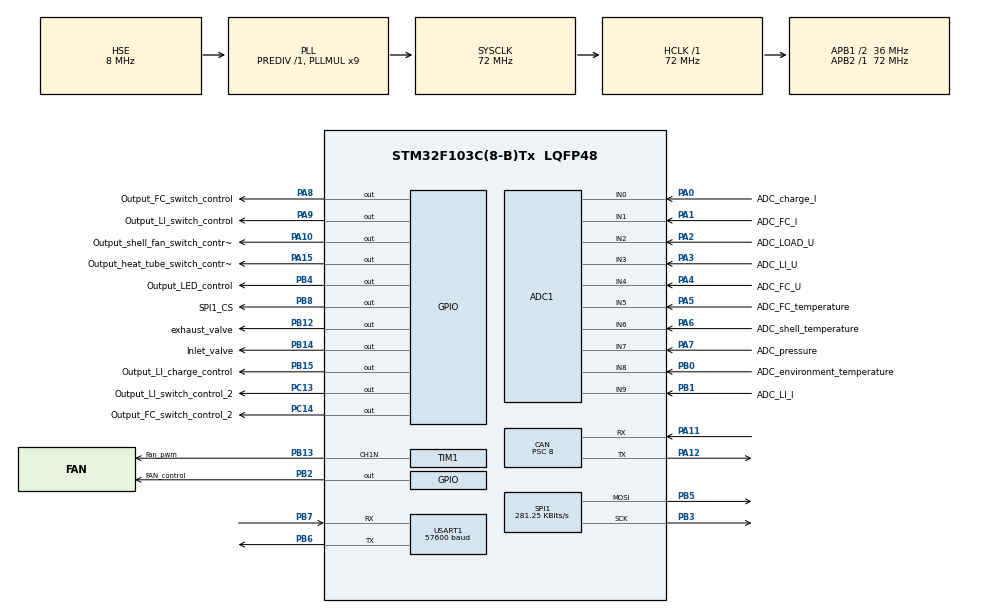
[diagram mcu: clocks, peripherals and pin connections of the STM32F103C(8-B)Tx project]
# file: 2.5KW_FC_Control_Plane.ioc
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ADC1.Channel-0\#ChannelRegularConversion=ADC_CHANNEL_0
ADC1.Channel-1\#ChannelRegularConversion=ADC_CHANNEL_1
ADC1.Channel-2\#ChannelRegularConversion=ADC_CHANNEL_2
ADC1.Channel-3\#ChannelRegularConversion=ADC_CHANNEL_3
ADC1.Channel-4\#ChannelRegularConversion=ADC_CHANNEL_4
ADC1.Channel-5\#ChannelRegularConversion=ADC_CHANNEL_5
ADC1.Channel-6\#ChannelRegularConversion=ADC_CHANNEL_6
ADC1.Channel-7\#ChannelRegularConversion=ADC_CHANNEL_7
ADC1.Channel-8\#ChannelRegularConversion=ADC_CHANNEL_8
ADC1.Channel-9\#ChannelRegularConversion=ADC_CHANNEL_9
ADC1.DataAlign=ADC_DATAALIGN_RIGHT
ADC1.DiscontinuousConvMode=ENABLE
ADC1.NbrOfConversion=10
ADC1.NbrOfConversionFlag=1
ADC1.Rank-0\#ChannelRegularConversion=1
ADC1.Rank-1\#ChannelRegularConversion=2
ADC1.Rank-2\#ChannelRegularConversion=3
ADC1.Rank-3\#ChannelRegularConversion=4
ADC1.Rank-4\#ChannelRegularConversion=5
ADC1.Rank-5\#ChannelRegularConversion=6
ADC1.Rank-6\#ChannelRegularConversion=7
ADC1.Rank-7\#ChannelRegularConversion=8
ADC1.Rank-8\#ChannelRegularConversion=9
ADC1.Rank-9\#ChannelRegularConversion=10
ADC1.SamplingTime-0\#ChannelRegularConversion=ADC_SAMPLETIME_239CYCLES_5
ADC1.SamplingTime-1\#ChannelRegularConversion=ADC_SAMPLETIME_239CYCLES_5
ADC1.SamplingTime-2\#ChannelRegularConversion=ADC_SAMPLETIME_239CYCLES_5
ADC1.SamplingTime-3\#ChannelRegularConversion=ADC_SAMPLETIME_239CYCLES_5
ADC1.SamplingTime-4\#ChannelRegularConversion=ADC_SAMPLETIME_239CYCLES_5
ADC1.SamplingTime-5\#ChannelRegularConversion=ADC_SAMPLETIME_239CYCLES_5
ADC1.SamplingTime-6\#ChannelRegularConversion=ADC_SAMPLETIME_239CYCLES_5
ADC1.SamplingTime-7\#ChannelRegularConversion=ADC_SAMPLETIME_239CYCLES_5
ADC1.SamplingTime-8\#ChannelRegularConversion=ADC_SAMPLETIME_239CYCLES_5
ADC1.SamplingTime-9\#ChannelRegularConversion=ADC_SAMPLETIME_239CYCLES_5
ADC1.master=1
CAN.ABOM=DISABLE
CAN.AWUM=DISABLE
CAN.BS1=CAN_BS1_9TQ
CAN.BS2=CAN_BS2_8TQ
CAN.CalculateBaudRate=250000
CAN.CalculateTimeBit=4000
CAN.CalculateTimeQuantum=222.22222222222223
CAN.NART=ENABLE
CAN.Prescaler=8
CAN.RFLM=DISABLE
CAN.TTCM=DISABLE
CAN.TXFP=DISABLE
Mcu.Family=STM32F1
Mcu.Name=STM32F103C(8-B)Tx
Mcu.Package=LQFP48
NVIC.PriorityGroup=NVIC_PRIORITYGROUP_4
NVIC.TIM2_IRQn=true\:1\:0\:true\:false\:true\:true\:true\:true
NVIC.USART1_IRQn=true\:0\:0\:false\:false\:true\:true\:true\:true
PA0-WKUP.GPIO_Label=ADC_charge_I
PA0-WKUP.Signal=ADCx_IN0
PA1.GPIO_Label=ADC_FC_I
PA1.Signal=ADCx_IN1
PA10.GPIO_Label=Output_shell_fan_switch_control
PA10.Signal=GPIO_Output
PA11.Mode=CAN_Activate
PA11.Signal=CAN_RX
PA12.Mode=CAN_Activate
PA12.Signal=CAN_TX
PA13.Mode=Serial_Wire
PA13.Signal=SYS_JTMS-SWDIO
PA14.Mode=Serial_Wire
PA14.Signal=SYS_JTCK-SWCLK
PA15.GPIO_Label=Output_heat_tube_switch_control
PA15.Signal=GPIO_Output
PA2.GPIO_Label=ADC_LOAD_U
PA2.Signal=ADCx_IN2
PA3.GPIO_Label=ADC_LI_U
PA3.Signal=ADCx_IN3
PA4.GPIO_Label=ADC_FC_U
PA4.Signal=ADCx_IN4
PA5.GPIO_Label=ADC_FC_temperature
PA5.Signal=ADCx_IN5
PA6.GPIO_Label=ADC_shell_temperature
PA6.Signal=ADCx_IN6
PA7.GPIO_Label=ADC_pressure
PA7.Signal=ADCx_IN7
PA8.GPIO_Label=Output_FC_switch_control
PA8.Signal=GPIO_Output
PA9.GPIO_Label=Output_LI_switch_control
PA9.Signal=GPIO_Output
PB0.GPIO_Label=ADC_environment_temperature
PB0.Signal=ADCx_IN8
PB1.GPIO_Label=ADC_LI_I
PB1.Signal=ADCx_IN9
PB12.GPIO_Label=exhaust_valve
PB12.Signal=GPIO_Output
PB13.GPIO_Label=Fan_pwm
PB13.GPIO_Speed=GPIO_SPEED_FREQ_HIGH
PB13.Mode=PWM Generation1 CH1N
PB13.Signal=TIM1_CH1N
PB14.GPIO_Label=Inlet_valve
PB14.Signal=GPIO_Output
PB15.GPIO_Label=Output_LI_charge_control
PB15.Signal=GPIO_Output
PB2.GPIO_Label=FAN_control
PB2.PinState=GPIO_PIN_SET
PB2.Signal=GPIO_Output
PB3.Mode=TX_Only_Simplex_Unidirect_Master
PB3.Signal=SPI1_SCK
PB4.GPIO_Label=Output_LED_control
PB4.Signal=GPIO_Output
PB5.Mode=TX_Only_Simplex_Unidirect_Master
PB5.Signal=SPI1_MOSI
PB6.Mode=Asynchronous
PB6.Signal=USART1_TX
PB7.Mode=Asynchronous
PB7.Signal=USART1_RX
PB8.GPIO_Label=SPI1_CS
PB8.Signal=GPIO_Output
PC13-TAMPER-RTC.GPIO_Label=Output_LI_switch_control_2
PC13-TAMPER-RTC.Signal=GPIO_Output
PC14-OSC32_IN.GPIO_Label=Output_FC_switch_control_2
PC14-OSC32_IN.Signal=GPIO_Output
PD0-OSC_IN.Mode=HSE-External-Oscillator
PD0-OSC_IN.Signal=RCC_OSC_IN
PD1-OSC_OUT.Mode=HSE-External-Oscillator
PD1-OSC_OUT.Signal=RCC_OSC_OUT
ProjectManager.HeapSize=0x200
ProjectManager.StackSize=0x400
ProjectManager.TargetToolchain=MDK-ARM V5.32
RCC.ADCPresc=RCC_ADCPCLK2_DIV6
RCC.AHBFreq_Value=72000000
RCC.APB1CLKDivider=RCC_HCLK_DIV2
RCC.APB1Freq_Value=36000000
RCC.APB1TimFreq_Value=72000000
RCC.APB2Freq_Value=72000000
RCC.APB2TimFreq_Value=72000000
RCC.HCLKFreq_Value=72000000
RCC.PLLMUL=RCC_PLL_MUL9
RCC.PLLSourceVirtual=RCC_PLLSOURCE_HSE
RCC.PREFETCH_ENABLE=1
RCC.SYSCLKFreq_VALUE=72000000
RCC.SYSCLKSource=RCC_SYSCLKSOURCE_PLLCLK
RCC.USBFreq_Value=72000000
SH.ADCx_IN0.0=ADC1_IN0,IN0
SH.ADCx_IN1.0=ADC1_IN1,IN1
SH.ADCx_IN2.0=ADC1_IN2,IN2
SH.ADCx_IN3.0=ADC1_IN3,IN3
SH.ADCx_IN4.0=ADC1_IN4,IN4
SH.ADCx_IN5.0=ADC1_IN5,IN5
SH.ADCx_IN6.0=ADC1_IN6,IN6
SH.ADCx_IN7.0=ADC1_IN7,IN7
SH.ADCx_IN8.0=ADC1_IN8,IN8
SH.ADCx_IN9.0=ADC1_IN9,IN9
SPI1.BaudRatePrescaler=SPI_BAUDRATEPRESCALER_256
SPI1.CalculateBaudRate=281.25 KBits/s
SPI1.Direction=SPI_DIRECTION_2LINES
SPI1.FirstBit=SPI_FIRSTBIT_MSB
SPI1.Mode=SPI_MODE_MASTER
SPI1.VirtualType=VM_MASTER
TIM1.AutoReloadPreload=TIM_AUTORELOAD_PRELOAD_ENABLE
TIM1.Channel-PWM\ Generation1\ CH1N=TIM_CHANNEL_1
TIM1.OCMode_PWM-PWM\ Generation1\ CH1N=TIM_OCMODE_PWM2
TIM1.OCNPolarity_1=TIM_OCNPOLARITY_HIGH
TIM1.Period=99
TIM1.Prescaler=35
TIM1.TIM_MasterOutputTrigger=TIM_TRGO_OC1REF
TIM2.AutoReloadPreload=TIM_AUTORELOAD_PRELOAD_ENABLE
TIM2.Period=1000-1
TIM2.Prescaler=71
TIM4.Period=1
TIM4.Prescaler=71
USART1.BaudRate=57600
USART1.VirtualMode=VM_ASYNC
VP_TIM2_VS_ClockSourceINT.Mode=Internal
VP_TIM4_VS_ClockSourceINT.Mode=Internal
board=custom

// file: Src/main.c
/* USER CODE BEGIN Header */
/**
  ******************************************************************************
  * @file           : main.c
  * @brief          : Main program body
  ******************************************************************************
  ** This notice applies to any and all portions of this file
  * that are not between comment pairs USER CODE BEGIN and
  * USER CODE END. Other portions of this file, whether
  * inserted by the user or by software development tools
  * are owned by their respective copyright owners.
  *
  * COPYRIGHT(c) 2019 STMicroelectronics
  *
  * Redistribution and use in source and binary forms, with or without modification,
  * are permitted provided that the following conditions are met:
  *   1. Redistributions of source code must retain the above copyright notice,
  *      this list of conditions and the following disclaimer.
  *   2. Redistributions in binary form must reproduce the above copyright notice,
  *      this list of conditions and the following disclaimer in the documentation
  *      and/or other materials provided with the distribution.
  *   3. Neither the name of STMicroelectronics nor the names of its contributors
  *      may be used to endorse or promote products derived from this software
  *      without specific prior written permission.
  *
  * THIS SOFTWARE IS PROVIDED BY THE COPYRIGHT HOLDERS AND CONTRIBUTORS "AS IS"
  * AND ANY EXPRESS OR IMPLIED WARRANTIES, INCLUDING, BUT NOT LIMITED TO, THE
  * IMPLIED WARRANTIES OF MERCHANTABILITY AND FITNESS FOR A PARTICULAR PURPOSE ARE
  * DISCLAIMED. IN NO EVENT SHALL THE COPYRIGHT HOLDER OR CONTRIBUTORS BE LIABLE
  * FOR ANY DIRECT, INDIRECT, INCIDENTAL, SPECIAL, EXEMPLARY, OR CONSEQUENTIAL
  * DAMAGES (INCLUDING, BUT NOT LIMITED TO, PROCUREMENT OF SUBSTITUTE GOODS OR
  * SERVICES; LOSS OF USE, DATA, OR PROFITS; OR BUSINESS INTERRUPTION) HOWEVER
  * CAUSED AND ON ANY THEORY OF LIABILITY, WHETHER IN CONTRACT, STRICT LIABILITY,
  * OR TORT (INCLUDING NEGLIGENCE OR OTHERWISE) ARISING IN ANY WAY OUT OF THE USE
  * OF THIS SOFTWARE, EVEN IF ADVISED OF THE POSSIBILITY OF SUCH DAMAGE.
  *
  ******************************************************************************
  */
/* USER CODE END Header */
#include "main.h"
#include "adc.h"
#include "can.h"
#include "spi.h"
#include "tim.h"
#include "usart.h"
#include "gpio.h"

/* USER CODE BEGIN PD */

volatile  uint16_t temperature;              //FC温度
uint8_t	  FC_Start_flag = 1;          				   //FC启停标志
uint16_t  FC_I;                 				     //FC电流
uint16_t  FC_U;                 				     //FC电压
uint32_t  Load_power;                        //负载功率
uint16_t  LI_I;                 				     //LI电流
uint16_t  LI_U;                 				     //LI电压
uint16_t  LI_charge_I;                 			 //LI充电电流
uint16_t  LOAD_U;                            //负载电压
uint16_t  FC_pressure;                 			 //FC进气压力
uint16_t  gas_cylinder_pressure;					   //气瓶压力
uint16_t  shell_temperature;                         //外壳温度
float     environment_temperature;                   //环境温度

uint16_t  temperature_record[TEMPERATURE_NUMBER];    //每秒温度记录
uint8_t   Exhaust_valves_flag = 0;   					 //开启排气标志; 置1:进入排气;  置0：不需要排气
uint16_t  temperature_counter;						 //温度计数器(最大计数655.35秒)
float     ntc_R;                                     //热敏电阻值（型号3950）
float     shell_ntc_R;                               //热敏电阻值（型号3950）
uint16_t  pretemperature_counter;					 //上一温度计数器
uint16_t  pretemperature;       					 //记录上一次温度 5s更新一次
uint16_t  temperature_rate;    						 //升温速率
uint16_t  Exhaust_valves_counter; 					 //排气阀间隔计数器
uint32_t  Exhaust_specific_counter;					 //排气阀特殊计数器（定时一段时间内强排几秒）
uint8_t   temperature_tendency; 					 //温度走势 1:升温; 0:降温或稳定

/* USER CODE END PD */

/* USER CODE BEGIN PV */
bool 			FC_Start_flag_;											//开机标志位
//排气阀-------------------------
uint8_t  Exhaust_status = 0;       				     	//排气阀开关状态
uint8_t   Exhaust_valves_flag;   					 		//开启排气标志
uint16_t  Exhaust_time_counter; 							//排气阀正常排气时间计数器
//正常排气
uint16_t  Exhaust_time_Normal=400;						//排气阀正常排气时间
uint16_t  Exhaust_interval_Normal=15000;			//排气阀正常排气间隔
uint16_t  Exhaust_interval_Normal_counter; 		//排气阀正常排气间隔计数器
//强制排气
uint32_t  Exhaust_time_Specific=2000;					//排气阀强制排气时间
uint32_t  Exhaust_interval_Specific=300000;		//排气阀强制排气间隔
uint32_t  Exhaust_interval_Specific_counter;	//排气阀强制排气间隔计数器
//手动排气
uint8_t   Exhaust_valves_Manual_flag;   			//手动开启排气标志
uint8_t   Exhaust_Manual_status;       				//排气阀手动开关状态
uint32_t  Exhaust_time_Manual=1000;						//排气阀手动排气时间
uint32_t  Exhaust_time_Manual_counter;				//排气阀手动排气时间计数器
//风扇---------------------------
uint16_t   PWM_VAL = 13;               				//风扇转速百分比
//串口---------------------------
volatile uint8_t Uart_ReceiveData_flag;                     //串口接收数据标志
uint8_t USART1_REC_BUF[USART1_MAX_RECV_LEN];        				//接收数据包缓冲区
uint8_t USART2_REC_BUF_Engine[4];                   //发动机数据包
volatile bool sendDataFlag = false;																	//是否回应数据标志位
volatile uint8_t	UART1_temp[1];              								//当前接收字节
volatile uint16_t USART1_REC_STA=0;													//当前字节是连续的第几位
volatile uint8_t respondDeviceID,respondDeviceValue;					//回应数据的ID和Value
uint16_t RecCrc, CalcCrc;														//接收的CRC校验码和计算的CRC校验码
volatile uint16_t CntRx1 = 0;																		//串口1接收时间标志位,7ms接收不到新数据，判定为1个包

//热敏电阻（B值：3950）温度对照数组 （-30℃ ~ 240℃）   一行10℃
float Thermistor3950[]={
		200.2039,	187.3164,	175.3536,	164.2428,	153.9176,	144.3169,	135.3851,	127.071,	119.3276,	112.112,
		105.3847,	99.1093,	93.2524,	87.7834,	82.674,	77.8981,	73.4319,	69.2531,	65.3415,	61.6781,
		58.2457,	55.0282,	52.0106,	49.1794,	46.5218,	44.026,	41.6813,	39.4773,	37.4049,	35.4554,
		33.6206,	31.8931,	30.266,	28.7328,	27.2875,	25.9246,	24.6387,	23.4251,	22.2793,	21.1971,
		20.1746,	19.208,	18.2941,	17.4296,	16.6115,	15.8371,	15.1039,	14.4092,	13.751,	13.127,
		12.5353,	11.9741,	11.4415,	10.936,	10.4559,	10,	9.5668,	9.1551,	8.7636,	8.3913,
		8.0371,	7.7001,	7.3793,	7.0738,	6.7828,	6.5055,	6.2413,	5.9894,	5.7492,	5.5201,
		5.3015,	5.0928,	4.8936,	4.7034,	4.5217,	4.3481,	4.1822,	4.0236,	3.872,	3.7269,
		3.5882,	3.4554,	3.3283,	3.2066,	3.0901,	2.9784,	2.8715,	2.769,	2.6707,	2.5765,
		2.4862,	2.3995,	2.3163,	2.2365,	2.1599,	2.0864,	2.0157,	1.9479,	1.8827,	1.8201,
		1.7598,	1.7019,	1.6463,	1.5927,	1.5412,	1.4917,	1.444,	1.3981,	1.3539,	1.3113,
		1.2703,	1.2308,	1.1928,	1.1561,	1.1208,	1.0867,	1.0538,	1.0221,	0.9915,	0.962,
		0.9336,	0.9061,	0.8796,	0.854,	0.8292,	0.8054,	0.7823,	0.76,	0.7385,	0.7176,
		0.6975,	0.6781,	0.6592,	0.641,	0.6234,	0.6064,	0.5899,	0.574,	0.5586,	0.5436,
		0.5291,	0.5151,	0.5016,	0.4884,	0.4757,	0.4633,	0.4514,	0.4398,	0.4285,	0.4177,
		0.4071,	0.3968,	0.3869,	0.3773,	0.3679,	0.3588,	0.35,	0.3415,	0.3332,	0.3251,
		0.3173,	0.3097,	0.3023,	0.2951,	0.2882,	0.2814,	0.2748,	0.2684,	0.2622,	0.2562,
		0.2503,	0.2446,	0.239,	0.2336,	0.2284,	0.2233,	0.2183,	0.2134,	0.2087,	0.2041,
		0.1997,	0.1953,	0.1911,	0.187,	0.183,	0.1791,	0.1753,	0.1715,	0.1679,	0.1644,
		0.161,	0.1576,	0.1544,	0.1512,	0.1481,	0.1451,	0.1421,	0.1392,	0.1364,	0.1337,
		0.131,	0.1284,	0.1259,	0.1234,	0.121,	0.1186,	0.1163,	0.1141,	0.1119,	0.1097,
		0.1076,	0.1056,	0.1036,	0.1016,	0.0997,	0.0979,	0.096,	0.0943,	0.0925,	0.0908,
		0.0892,	0.0875,	0.086,	0.0844,	0.0829,	0.0814,	0.08,	0.0785,	0.0771,	0.0758,
		0.0745,	0.0732,	0.0719,	0.0706,	0.0694,	0.0682,	0.0671,	0.0659,	0.0648,	0.0637,
		0.0626,	0.0616,	0.0606,	0.0596,	0.0586,	0.0576,	0.0567,	0.0557,	0.0548,	0.0539,
		0.0531,	0.0522,	0.0514,	0.0506,	0.0498,	0.049,	0.0482,	0.0474,	0.0467,	0.046,
		0.0453,	0.0446,	0.0439,	0.0432,	0.0425,	0.0419,	0.0413,	0.0406,	0.04,	0.0394
	};

//函数定义
void get_rec_data(void);
void USART3_Respond(void);
void response_data_send(uint8_t deviceID,uint8_t deviceValue);
uint16_t crc16_calc(uint8_t *crc_buf , uint8_t crc_leni);
uint8_t crc8_calc(uint8_t *data, uint8_t len);

void Task_USART3_Printf(void);
void Task_Exhaust_valves_count(void);
void Task_Exhaust_valves_control(void);
void Task_PWM_control(void);
void TaskRemarks(void);
void TaskProcess(void);

/**************************************************************************************
* Variable definition
**************************************************************************************/

/* USER CODE END PV */

void SystemClock_Config(void);

/* USER CODE BEGIN 0 */
//CRC校验
uint16_t crc16_calc(uint8_t *crc_buf , uint8_t crc_leni)
{
	unsigned char i, j;
	unsigned int crc_sumx;

	crc_sumx = 0xFFFF;

	for (i = 0; i < crc_leni; i++)
	{
		crc_sumx ^= *(crc_buf + i);
		for (j = 0; j < 8; j++) {
			if (crc_sumx & 0x01) {
				crc_sumx >>= 1;
				crc_sumx ^= 0xA001;
			} else {
				crc_sumx >>= 1;
			}
		}
	}

	return crc_sumx;
}

//递归二分查找
int recurbinary(float *a, float key, int low, int high)
{
	int mid = (low+high)/2;

	if(a[low] < key)
	{
		return low;
	}
	else if(a[high] > key)
	{
		return high;
	}

	if(a[mid+1]<=key && a[mid-1]>=key)
	{
		if(a[mid+1]<=key&&a[mid]>=key)
		{
			return mid+1;
		}else
		{
			return mid;
		}
	}
	else if(a[mid] < key)
	{
		return recurbinary(a, key, low, mid);
	}
	else
	{
		return recurbinary(a, key, mid, high);
	}
}

//装载参数数据
void USART1_Parameters_Send(void)
{
#if FUNCTION_TEXT
	printf("****************BEGIN LINE********************\r\n");

	printf("temperature = %.2f 摄氏度 \r\n",(float)temperature*0.01);
	printf("PWM_VAL = %d \r\n",PWM_VAL);
	printf("environment_temperature = %.2f 摄氏度 \r\n",environment_temperature);
	printf("shell_temperaturen = %.2f 摄氏度 \r\n",(float)shell_temperature*0.01);
	printf("Exhaust_status = %d \r\n",Exhaust_status);

	printf("****************END LINE**********************\r\n");
#else

	uint8_t Plane_data[14] = { 0 };

	Plane_data[0] = 0x0E;   //地址
	Plane_data[1] = 0x01;		//功能码：参数通信帧
	Plane_data[2] = 0x00;		//起始地址
	Plane_data[3] = 0x04;		//读取个数
	Plane_data[4] = (temperature+4000) >> 8;
	Plane_data[5] = (temperature+4000) & 0xff;
	Plane_data[6] = (shell_temperature+4000) >> 8;
	Plane_data[7] = (shell_temperature+4000) & 0xff;
	Plane_data[8] = (uint16_t)environment_temperature >> 8;
	Plane_data[9] = (uint16_t)environment_temperature & 0xff;
	Plane_data[10] = 0x00;
	Plane_data[11] = Exhaust_status;
	uint16_t crc = crc16_calc(Plane_data, 12);
	Plane_data[12] = crc >> 8;
	Plane_data[13] = crc & 0xff;

	HAL_UART_Transmit(&huart1,Plane_data,14,0xFFFF);

#endif

}

//装载应答数据
void response_data_send(uint8_t deviceID,uint8_t deviceValue)
{
	#if FUNCTION_TEXT
	printf("****************BEGIN LINE********************\r\n");

	printf("****************END LINE**********************\r\n");

	#else
	uint8_t data_send[6] = {0};
	data_send[0] = 0x0E;				//地址码
	data_send[1] = 0x02;				//功能码：应答数据帧
	data_send[2] = deviceID;
	data_send[3] = deviceValue;
	uint16_t resCrc = crc16_calc(data_send, 4);
	data_send[4] = resCrc >> 8;
	data_send[5] = resCrc & 0xff;

	HAL_UART_Transmit(&huart1,data_send,6,1000);

	#endif

}

//解包函数
//0C 02 deviceid value1 value2 value3 value4 CRC1 CRC2
void get_rec_data(void)
{
	if (USART1_REC_BUF[0] == 0x0C && USART1_REC_BUF[1] == 0x02)
	{
		//deviceid：风扇01、 电磁阀参数更改02、 电磁阀手动开启03
		//PWM通讯样例：0C 02 01 00 00 00 0D E7 2A
		if(USART1_REC_BUF[2] == 0x01)
		{
			RecCrc = ((uint16_t)USART1_REC_BUF[7] << 8) | USART1_REC_BUF[8];
			CalcCrc = crc16_calc(USART1_REC_BUF, 7);
			if(RecCrc != CalcCrc){
				respondDeviceID = USART1_REC_BUF[2];
				respondDeviceValue = 0x02;           //CRC校验错误
			}
			else{
				if(USART1_REC_BUF[6] >= 100)
					USART1_REC_BUF[6] = 100;
				PWM_VAL = USART1_REC_BUF[6];
				respondDeviceID = USART1_REC_BUF[2];
				respondDeviceValue = 0x01;           //设置成功
			}
		}
		//排气参数更改通讯样例：0C 02 02 27 10 00 00 53 A4
		else if(USART1_REC_BUF[2] == 0x02)
		{
			RecCrc = ((uint16_t)USART1_REC_BUF[7] << 8) | USART1_REC_BUF[8];
			CalcCrc = crc16_calc(USART1_REC_BUF, 7);
			if(RecCrc != CalcCrc){
				respondDeviceID = USART1_REC_BUF[2];
				respondDeviceValue = 0x02;
			}
			else{
				Exhaust_interval_Normal = ((uint16_t)USART1_REC_BUF[3] << 8) | USART1_REC_BUF[4];
				Exhaust_time_Normal = ((uint16_t)USART1_REC_BUF[5] << 8) | USART1_REC_BUF[6];
				respondDeviceID = USART1_REC_BUF[2];
				respondDeviceValue = 0x01;
			}
		}
		//手动排气通讯样例：0C 02 03 00 00 00 01 22 53
		else if(USART1_REC_BUF[2] == 0x03)
		{
			RecCrc = ((uint16_t)USART1_REC_BUF[7] << 8) | USART1_REC_BUF[8];
			CalcCrc = crc16_calc(USART1_REC_BUF, 7);
			if(RecCrc != CalcCrc){
				respondDeviceID = USART1_REC_BUF[2];
				respondDeviceValue = 0x02;
			}
			else{
				Exhaust_valves_Manual_flag = 1;
				respondDeviceID = USART1_REC_BUF[2];
				respondDeviceValue = 0x01;
			}
		}
		else{
			respondDeviceID = 0xFF;					//设备码错误
			respondDeviceValue = 0xFF;
		}
	}
	else{
		respondDeviceID = 0xFE;						//地址码错误
		respondDeviceValue = 0xFE;
	}
	sendDataFlag = true;
}

//串口任务
void Task_USART1_Respond(void)
{
	USART1_Parameters_Send();
	if(Uart_ReceiveData_flag){
		get_rec_data();
		memset(USART1_REC_BUF, 0, sizeof (USART1_REC_BUF));
		if(sendDataFlag == true){
//			response_data_send(respondDeviceID,respondDeviceValue);
			sendDataFlag = false;
		}
		USART1_REC_STA = 0;
		Uart_ReceiveData_flag = 0;
	}
}

//排气任务：0.05s执行一次
void Task_Exhaust_valves_control(void)
{
	//FC开机完成进入正常电流累加排气流程
	if(FC_Start_flag == 1)
	{
		//开启手动排气----------------------------
		if(Exhaust_valves_Manual_flag == 1 && Exhaust_status == 0 )
		{
			EXHAUST_ON;
			Exhaust_time_counter = 0;
			Exhaust_status = 1;
			Exhaust_interval_Normal_counter = 0;//
		}
		//结束手动排气
		if((Exhaust_time_counter > Exhaust_time_Manual) && Exhaust_status == 1 && Exhaust_valves_Manual_flag == 1)
		{
			Exhaust_time_counter = 0;
			Exhaust_status = 0;
			EXHAUST_OFF;
			Exhaust_valves_Manual_flag = 0;
			Exhaust_interval_Normal_counter = 0;
		}

		//开启自动排气-----------------------------
		if(Exhaust_valves_flag == 1 && Exhaust_status == 0 )
		{
			EXHAUST_ON;
			Exhaust_time_counter = 0;
			Exhaust_valves_flag = 0;
			Exhaust_status = 1;
			Exhaust_interval_Normal_counter = 0;		//重置间隔计数器
		}

		//结束自动排气：区分强制排气和正常排气
		if(Exhaust_interval_Specific_counter > Exhaust_interval_Specific)
		{
			if( (Exhaust_time_counter > Exhaust_time_Specific)  && Exhaust_status == 1 && Exhaust_valves_Manual_flag == 0)
			{
				Exhaust_time_counter = 0;
				Exhaust_interval_Specific_counter = 0;
				Exhaust_status = 0;
				Exhaust_interval_Normal_counter = 0;
				EXHAUST_OFF;
			}
		}
		else
		{
			if( (Exhaust_time_counter > Exhaust_time_Normal)  && Exhaust_status == 1 && Exhaust_valves_Manual_flag == 0)
			{
				Exhaust_time_counter = 0;
				Exhaust_status = 0;
				Exhaust_interval_Normal_counter = 0;
				EXHAUST_OFF;
			}
		}
	}
}

//排气检测任务：0.1s执行一次
void Task_Exhaust_valves_count(void)
{
	//正常排气时间到
	if( (Exhaust_interval_Normal_counter > Exhaust_interval_Normal) && Exhaust_valves_flag == 0 && Exhaust_status == 0)
	{
		Exhaust_valves_flag = 1;
	}
	//强制排气时间到
	if( (Exhaust_interval_Specific_counter > Exhaust_interval_Specific) && Exhaust_valves_flag == 0 && Exhaust_status == 0)
	{
		Exhaust_valves_flag = 1;
	}
}

void Task_NTC_temp(void)
{
		temperature = ((recurbinary(Thermistor3950, ntc_R, 0, 270) - 30)*100); //单位:100 * ℃

		shell_temperature = (recurbinary(Thermistor3950, shell_ntc_R, 0, 270) - 30)*100;	//单位:100 * ℃
}

void Task_environment_temperature(void)
{
	environment_temperature = DS18B20_Get_TempA();
}

void Task_Fan_PWM(void)
{
	TIM_SetCompare3(TIM1,PWM_VAL);
}

//第三个数字=n，表示n毫秒执行一次
static TASK_COMPONENTS TaskComps[] =
{
  {0, 30, 30, Task_Get_ADC_data},                           // ADC采集数据每(0.03*ADC_AVERAGE_TIME)秒一次
  {0, 100, 100, Task_USART1_Respond},                     	// 串口1数据发送
  {0, 200, 200, Task_NTC_temp},           			  					// 每0.2s刷新一次温度值;每5s刷新一次pretemperature;每1s刷新一次temperature_record
	{0, 10, 10, Task_Exhaust_valves_control},                 // FC排气到时，控制排气持续时间(理论排气0.225s）
	{0, 100, 100, Task_Exhaust_valves_count},    			  			// FC排气计数器控制排气标志位
	{0, 1500, 1500,Task_environment_temperature},			  			// 环境温度采集
	{0, 200, 200,Task_Fan_PWM}			  			// 环境温度采集
};

/**************************************************************************************
* FunctionName   : TaskRemarks()
* Description    : 任务标志处理
* EntryParameter : None
* ReturnValue    : None
**************************************************************************************/
void TaskRemarks(void)
{
    uint8_t i;
    for (i=0; i<TASKS_MAX; i++)          // 逐个任务时间处理
    {
         if (TaskComps[i].Timer)          // 时间不为0
        {
            TaskComps[i].Timer--;         // 减去一个节拍
            if (TaskComps[i].Timer == 0)       // 时间减完了
            {
                 TaskComps[i].Timer = TaskComps[i].ItvTime;       // 恢复计时器值，从新下一次
                 TaskComps[i].Run = 1;           // 任务可以运行
            }
        }
    }
}

/**************************************************************************************
* FunctionName   : TaskProcess()
* Description    : 任务处理
* EntryParameter : None
* ReturnValue    : None
**************************************************************************************/
void TaskProcess(void)
{
    uint8_t i;
    for (i=0; i<TASKS_MAX; i++)               // 逐个任务时间处理
    {
         if (TaskComps[i].Run)                // 时间不为0
        {
             TaskComps[i].TaskHook();         // 运行任务
             TaskComps[i].Run = 0;            // 标志清0
        }
    }
}

//定时器2中断回调函数
void HAL_TIM_PeriodElapsedCallback(TIM_HandleTypeDef *htim)
{
	if(htim == (&htim2))
	{
		TaskRemarks();
		temperature_counter++;          				//温度计数器累加
		pretemperature_counter++;	  						//上一温度计数器累加
		Exhaust_time_counter++;       					//自动排气时间计数器
		Exhaust_time_Manual_counter++;    			//手动排气时间计数器
		Exhaust_interval_Normal_counter++;     	//正常排气间隔计数器
		Exhaust_interval_Specific_counter++;   	//强制排气间隔计数器

		if(CntRx1)
			{
				if(--CntRx1==0)	    	    //7ms后没有新数据来
				{
					USART1_REC_STA|=1<<15;
					Uart_ReceiveData_flag = 1;
				}
			}
	}
}

void Initialize_function(void)
{
	HAL_GPIO_WritePin(GPIOB,GPIO_PIN_4,GPIO_PIN_SET); //打开LED灯
	HAL_GPIO_WritePin(GPIOB,GPIO_PIN_8,GPIO_PIN_SET); //拉高SPI1片选电平
	PWM_VAL = MIN_PWM_VAL;
	TIM_SetCompare3(TIM1,PWM_VAL);
	FAN_ON;//打开电堆风扇
	EXHAUST_OFF;
}

/* USER CODE END 0 */

int main(void)
{

  /* MCU Configuration--------------------------------------------------------*/

  /* Reset of all peripherals, Initializes the Flash interface and the Systick. */
  HAL_Init();

  /* Configure the system clock */
  SystemClock_Config();

  /* Initialize all configured peripherals */
  MX_GPIO_Init();
  MX_ADC1_Init();
  MX_TIM1_Init();
  MX_TIM2_Init();
  MX_CAN_Init();
  MX_USART1_UART_Init();
  MX_SPI1_Init();
  MX_TIM4_Init();
  /* USER CODE BEGIN 2 */

	Initialize_function();//初始化电堆参数

	//启动串口接收
	HAL_UART_Receive_IT(&huart1, (uint8_t *)UART1_temp, 1);
	//开启定时器中断----->1ms
	__HAL_TIM_CLEAR_IT(&htim2, TIM_IT_UPDATE);
	HAL_TIM_Base_Start_IT(&htim2);

	HAL_DBGMCU_EnableDBGStopMode();

  /* USER CODE END 2 */

  /* Infinite loop */
  while (1)
  {

    /* USER CODE BEGIN 3 */

		//自动控制
		#if (1-FUNCTION_TEXT)
			TaskProcess();
		#endif
  }
  /* USER CODE END 3 */
}

void SystemClock_Config(void)
{
  RCC_OscInitTypeDef RCC_OscInitStruct = {0};
  RCC_ClkInitTypeDef RCC_ClkInitStruct = {0};
  RCC_PeriphCLKInitTypeDef PeriphClkInit = {0};

  /** Initializes the RCC Oscillators according to the specified parameters
  * in the RCC_OscInitTypeDef structure.
  */
  RCC_OscInitStruct.OscillatorType = RCC_OSCILLATORTYPE_HSE;
  RCC_OscInitStruct.HSEState = RCC_HSE_ON;
  RCC_OscInitStruct.HSEPredivValue = RCC_HSE_PREDIV_DIV1;
  RCC_OscInitStruct.HSIState = RCC_HSI_ON;
  RCC_OscInitStruct.PLL.PLLState = RCC_PLL_ON;
  RCC_OscInitStruct.PLL.PLLSource = RCC_PLLSOURCE_HSE;
  RCC_OscInitStruct.PLL.PLLMUL = RCC_PLL_MUL9;
  if (HAL_RCC_OscConfig(&RCC_OscInitStruct) != HAL_OK)
  {
    Error_Handler();
  }

  /** Initializes the CPU, AHB and APB buses clocks
  */
  RCC_ClkInitStruct.ClockType = RCC_CLOCKTYPE_HCLK|RCC_CLOCKTYPE_SYSCLK
                              |RCC_CLOCKTYPE_PCLK1|RCC_CLOCKTYPE_PCLK2;
  RCC_ClkInitStruct.SYSCLKSource = RCC_SYSCLKSOURCE_PLLCLK;
  RCC_ClkInitStruct.AHBCLKDivider = RCC_SYSCLK_DIV1;
  RCC_ClkInitStruct.APB1CLKDivider = RCC_HCLK_DIV2;
  RCC_ClkInitStruct.APB2CLKDivider = RCC_HCLK_DIV1;

  if (HAL_RCC_ClockConfig(&RCC_ClkInitStruct, FLASH_LATENCY_2) != HAL_OK)
  {
    Error_Handler();
  }
  PeriphClkInit.PeriphClockSelection = RCC_PERIPHCLK_ADC;
  PeriphClkInit.AdcClockSelection = RCC_ADCPCLK2_DIV6;
  if (HAL_RCCEx_PeriphCLKConfig(&PeriphClkInit) != HAL_OK)
  {
    Error_Handler();
  }
}

void Error_Handler(void)
{
}
